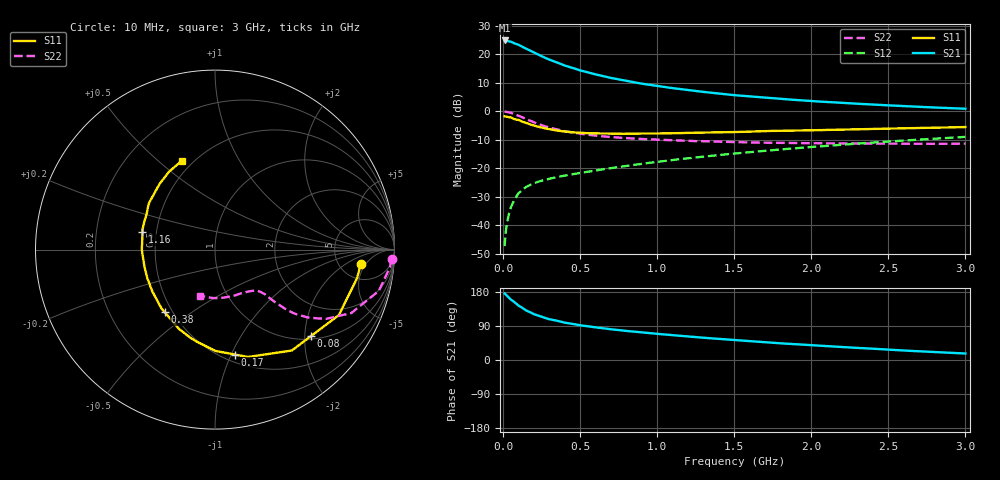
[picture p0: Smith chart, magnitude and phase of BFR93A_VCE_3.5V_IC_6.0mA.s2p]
! Infineon Technologies  Discrete & RF Semiconductors
! BFR93A
! VCE =  3.5 V,  IC =  6.0 mA
! Common Emitter S-Parameters:  Nov 2015
# GHz  S  MA  R  50
!  f  S11  S21  S12  S22
! GHz  MAG  ANG  MAG  ANG  MAG  ANG  MAG  ANG
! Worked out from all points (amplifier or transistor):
!   180 points, 10 MHz to 3 GHz, reference 50 ohm
!   highest |S21| = 24.8 dB at 10 MHz (marker M1)
!   |S21| within 3 dB of that: start of sweep to 154.4 MHz
!   unconditionally stable (mu >= 1): 697.4 MHz to 2.757 GHz
!   at 160 MHz: K = 0.37, MSG = 24.0 dB, |S12| = -26.3 dB
!   at 1.22 GHz: K = 1.11, MAG = 9.8 dB, |S12| = -16.4 dB
!   at 3 GHz: K = 0.97, MSG = 4.9 dB, |S12| = -9.0 dB
!   S11 on the Smith chart (normalised r, x): 10 MHz: 7.97, -3.87; 80 MHz: 1.07, -2.14; 170 MHz: 0.57, -1.03; 380 MHz: 0.45, -0.40; 1.16 GHz: 0.42, +0.10; 3 GHz: 0.44, +0.60
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0.01  0.8161 -5.7  17.46 175.6  0.0043 86.9  0.9864 -3.0
0.02  0.8072 -11.4  17.34 171.5  0.0087 81.9  0.9796 -5.8
0.05  0.7806 -27.9  16.61 159.8  0.0204 76.4  0.9414 -14.1
0.08  0.7194 -42.2  15.3 150.6  0.0299 68.4  0.8757 -20.3
0.1  0.7066 -52.7  14.68 143.6  0.0364 65.4  0.8383 -24.9
0.15  0.6259 -72.9  12.54 130.6  0.0471 58.1  0.7292 -32.0
0.17  0.5953 -79.2  11.77 127.1  0.0502 56.5  0.6932 -33.6
0.2  0.5646 -89.7  10.72 121.0  0.0548 54.4  0.6403 -36.2
0.24  0.5249 -100.5  9.51 115.1  0.0594 52.4  0.5835 -38.3
0.26  0.5102 -105.5  8.986 112.4  0.0616 51.8  0.5591 -39.1
0.3  0.4855 -114.4  8.054 107.6  0.0655 51.2  0.5178 -40.1
0.38  0.4474 -128.6  6.668 100.7  0.0726 51.1  0.4599 -41.0
0.4  0.4426 -132.5  6.341 98.5  0.0744 51.1  0.4454 -41.2
0.52  0.4165 -148.5  5.058 90.6  0.0847 52.3  0.3963 -41.7
0.7  0.4048 -165.7  3.844 81.1  0.1008 54.4  0.3525 -42.6
0.9  0.4078 -179.8  3.047 72.9  0.1196 56.1  0.3256 -44.6
1.02  0.408 173.2  2.724 68.3  0.1315 56.8  0.3158 -46.3
1.16  0.4159 166.3  2.431 63.5  0.1458 57.1  0.3052 -49.0
1.52  0.432 151.3  1.897 52.0  0.1833 56.9  0.2869 -57.4
2.02  0.465 135.3  1.5 38.5  0.2383 54.7  0.2744 -71.8
2.52  0.4976 122.5  1.262 27.0  0.297 50.6  0.2701 -88.8
3  0.5291 110.3  1.108 17.1  0.3553 45.5  0.2709 -108.5
